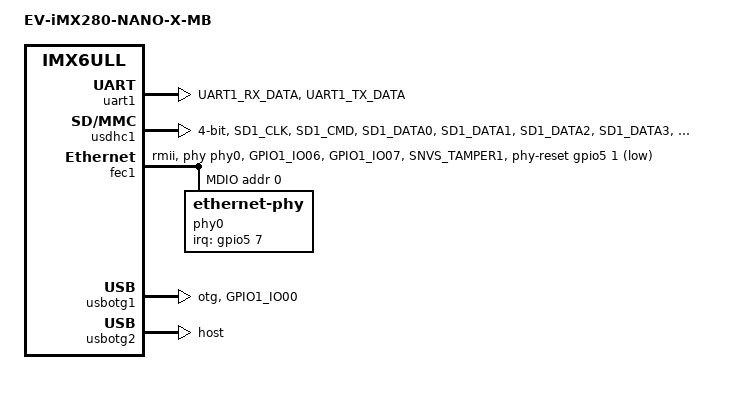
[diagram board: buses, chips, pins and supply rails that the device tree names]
// SPDX-License-Identifier: GPL-2.0+
// Copyright (C) 2021 Oleh Kravchenko <oleg@kaa.org.ua>

/dts-v1/;

#include "o4-imx6ull-nano.dtsi"

/ {
	model = "EV-iMX280-NANO-X-MB";
	compatible = "evodbg,ev-imx280-nano-x-mb",
		     "out4,o4-imx6ull-nano",
		     "fsl,imx6ull";

	aliases {
		mmc1 = &usdhc1;
	};

	chosen {
		stdout-path = &uart1;
	};
};

&iomuxc {
	pinctrl_uart1: uart1grp {
		fsl,pins = <
			MX6UL_PAD_UART1_RX_DATA__UART1_DCE_RX	0x1b0b1
			MX6UL_PAD_UART1_TX_DATA__UART1_DCE_TX	0x1b0b1
		>;
	};

	pinctrl_usdhc1: usdhc1grp {
		fsl,pins = <
			MX6UL_PAD_SD1_CLK__USDHC1_CLK		0x10069
			MX6UL_PAD_SD1_CMD__USDHC1_CMD		0x17059
			MX6UL_PAD_SD1_DATA0__USDHC1_DATA0	0x17059
			MX6UL_PAD_SD1_DATA1__USDHC1_DATA1	0x17059
			MX6UL_PAD_SD1_DATA2__USDHC1_DATA2	0x17059
			MX6UL_PAD_SD1_DATA3__USDHC1_DATA3	0x17059
			MX6UL_PAD_UART1_RTS_B__USDHC1_CD_B	0x03029
		>;
	};

	pinctrl_mdio: mdiogrp {
		fsl,pins = <
			MX6UL_PAD_GPIO1_IO06__ENET1_MDIO	0x1b0b0
			MX6UL_PAD_GPIO1_IO07__ENET1_MDC		0x1b0b0
			MX6UL_PAD_SNVS_TAMPER1__GPIO5_IO01	0xb0b0 /* RST */
		>;
	};

	pinctrl_usb_otg1_id: usbotg1idgrp {
		fsl,pins = <
			MX6UL_PAD_GPIO1_IO00__ANATOP_OTG1_ID	0x17059
		>;
	};
};

&uart1 {
	pinctrl-0 = <&pinctrl_uart1>;
	pinctrl-names = "default";
	status = "okay";
};

&usdhc1 {
	bus-width = <4>;
	no-1-8-v;
	pinctrl-0 = <&pinctrl_usdhc1>;
	pinctrl-names = "default";
	status = "okay";
	wakeup-source;
};

&fec1 {
	phy-handle = <&phy0>;
	phy-mode = "rmii";
	phy-reset-duration = <250>;
	phy-reset-post-delay = <100>;
	phy-reset-gpios = <&gpio5 1 GPIO_ACTIVE_LOW>;
	pinctrl-0 = <&pinctrl_fec1 &pinctrl_mdio>;
	pinctrl-names = "default";
	status = "okay";

	mdio {
		#address-cells = <1>;
		#size-cells = <0>;

		phy0: ethernet-phy@0 {
			clocks = <&clks IMX6UL_CLK_ENET_REF>;
			clock-names = "rmii-ref";
			interrupt-parent = <&gpio5>;
			interrupts = <7 IRQ_TYPE_EDGE_FALLING>;
			pinctrl-0 = <&pinctrl_phy0_irq>;
			pinctrl-names = "default";
			reg = <0>;
		};
	};
};

&usbotg1 {
	dr_mode = "otg";
	pinctrl-0 = <&pinctrl_usb_otg1_id>;
	pinctrl-names = "default";
	status = "okay";
};

&usbotg2 {
	dr_mode = "host";
	status = "okay";
};
